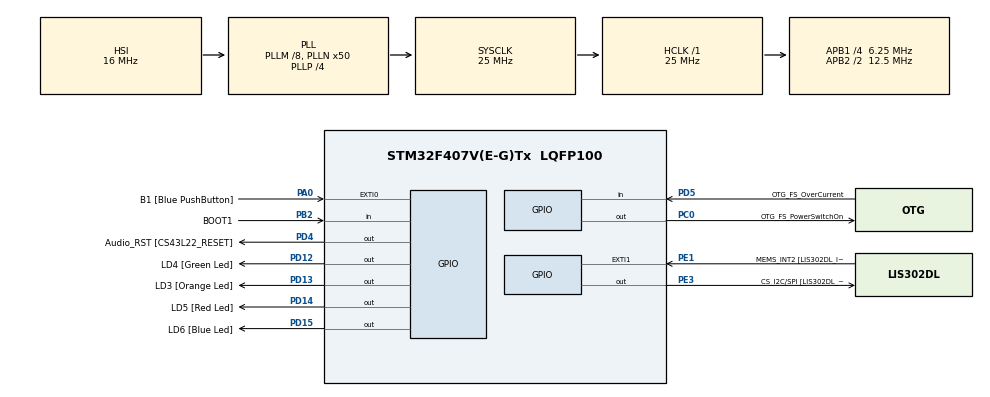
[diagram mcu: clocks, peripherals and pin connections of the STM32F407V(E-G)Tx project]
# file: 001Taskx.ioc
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Mcu.Family=STM32F4
Mcu.Name=STM32F407V(E-G)Tx
Mcu.Package=LQFP100
NVIC.PriorityGroup=NVIC_PRIORITYGROUP_4
NVIC.TIM6_DAC_IRQn=true\:0\:0\:false\:false\:true\:false\:true\:true
NVIC.TimeBase=TIM6_DAC_IRQn
NVIC.TimeBaseIP=TIM6
PA0-WKUP.GPIO_Label=B1 [Blue PushButton]
PA0-WKUP.Signal=GPXTI0
PA10.GPIO_Label=OTG_FS_ID
PA10.GPIO_Mode=GPIO_MODE_AF_PP
PA10.GPIO_PuPd=GPIO_NOPULL
PA10.GPIO_Speed=GPIO_SPEED_FREQ_LOW
PA10.Signal=USB_OTG_FS_ID
PA11.GPIO_Label=OTG_FS_DM
PA11.GPIO_Mode=GPIO_MODE_AF_PP
PA11.GPIO_PuPd=GPIO_NOPULL
PA11.GPIO_Speed=GPIO_SPEED_FREQ_LOW
PA11.Signal=USB_OTG_FS_DM
PA12.GPIO_Label=OTG_FS_DP
PA12.GPIO_Mode=GPIO_MODE_AF_PP
PA12.GPIO_PuPd=GPIO_NOPULL
PA12.GPIO_Speed=GPIO_SPEED_FREQ_LOW
PA12.Signal=USB_OTG_FS_DP
PA13.GPIO_Label=SWDIO
PA13.Signal=SYS_JTMS-SWDIO
PA14.GPIO_Label=SWCLK
PA14.Signal=SYS_JTCK-SWCLK
PA4.GPIO_Label=I2S3_WS [CS43L22_LRCK]
PA4.GPIO_Mode=GPIO_MODE_AF_PP
PA4.GPIO_PuPd=GPIO_NOPULL
PA4.GPIO_Speed=GPIO_SPEED_FREQ_LOW
PA4.Signal=I2S3_WS
PA5.GPIO_Label=SPI1_SCK [LIS302DL_SCL/SPC]
PA5.GPIO_Mode=GPIO_MODE_AF_PP
PA5.GPIO_PuPd=GPIO_NOPULL
PA5.GPIO_Speed=GPIO_SPEED_FREQ_LOW
PA5.Signal=SPI1_SCK
PA6.GPIO_Label=SPI1_MISO [LIS302DL_SDO]
PA6.GPIO_Mode=GPIO_MODE_AF_PP
PA6.GPIO_PuPd=GPIO_NOPULL
PA6.GPIO_Speed=GPIO_SPEED_FREQ_LOW
PA6.Signal=SPI1_MISO
PA7.GPIO_Label=SPI1_MOSI [LIS302DL_SDA/SDI/SDO]
PA7.GPIO_Mode=GPIO_MODE_AF_PP
PA7.GPIO_PuPd=GPIO_NOPULL
PA7.GPIO_Speed=GPIO_SPEED_FREQ_LOW
PA7.Signal=SPI1_MOSI
PA9.GPIO_Label=VBUS_FS
PA9.GPIO_Mode=GPIO_MODE_INPUT
PA9.GPIO_PuPd=GPIO_NOPULL
PA9.Signal=USB_OTG_FS_VBUS
PB10.GPIO_Label=CLK_IN [MP45DT02_CLK]
PB10.GPIO_Mode=GPIO_MODE_AF_PP
PB10.GPIO_PuPd=GPIO_NOPULL
PB10.GPIO_Speed=GPIO_SPEED_FREQ_LOW
PB10.Signal=I2S2_CK
PB2.GPIO_Label=BOOT1
PB2.GPIO_Mode=GPIO_MODE_INPUT
PB2.GPIO_PuPd=GPIO_NOPULL
PB2.Signal=GPIO_Input
PB3.GPIO_Label=SWO
PB3.Signal=SYS_JTDO-SWO
PB6.GPIO_Label=Audio_SCL [CS43L22_SCL]
PB6.GPIO_Mode=GPIO_MODE_AF_OD
PB6.GPIO_PuPd=GPIO_NOPULL
PB6.GPIO_Speed=GPIO_SPEED_FREQ_LOW
PB6.Signal=I2C1_SCL
PB9.GPIO_Label=Audio_SDA [CS43L22_SDA]
PB9.GPIO_Mode=GPIO_MODE_AF_OD
PB9.GPIO_PuPd=GPIO_NOPULL
PB9.GPIO_Speed=GPIO_SPEED_FREQ_LOW
PB9.Signal=I2C1_SDA
PC0.GPIO_Label=OTG_FS_PowerSwitchOn
PC0.GPIO_PuPd=GPIO_NOPULL
PC0.GPIO_Speed=GPIO_SPEED_FREQ_LOW
PC0.PinState=GPIO_PIN_SET
PC0.Signal=GPIO_Output
PC10.GPIO_Label=I2S3_SCK [CS43L22_SCLK]
PC10.GPIO_Mode=GPIO_MODE_AF_PP
PC10.GPIO_PuPd=GPIO_NOPULL
PC10.GPIO_Speed=GPIO_SPEED_FREQ_LOW
PC10.Signal=I2S3_CK
PC12.GPIO_Label=I2S3_SD [CS43L22_SDIN]
PC12.GPIO_Mode=GPIO_MODE_AF_PP
PC12.GPIO_PuPd=GPIO_NOPULL
PC12.GPIO_Speed=GPIO_SPEED_FREQ_LOW
PC12.Signal=I2S3_SD
PC14-OSC32_IN.GPIO_Label=PC14-OSC32_IN
PC14-OSC32_IN.Signal=RCC_OSC32_IN
PC15-OSC32_OUT.GPIO_Label=PC15-OSC32_OUT
PC15-OSC32_OUT.Signal=RCC_OSC32_OUT
PC3.GPIO_Label=PDM_OUT [MP45DT02_DOUT]
PC3.GPIO_Mode=GPIO_MODE_AF_PP
PC3.GPIO_PuPd=GPIO_NOPULL
PC3.GPIO_Speed=GPIO_SPEED_FREQ_LOW
PC3.Signal=I2S2_SD
PC7.GPIO_Label=I2S3_MCK [CS43L22_MCLK]
PC7.GPIO_Mode=GPIO_MODE_AF_PP
PC7.GPIO_PuPd=GPIO_NOPULL
PC7.GPIO_Speed=GPIO_SPEED_FREQ_LOW
PC7.Signal=I2S3_MCK
PD12.GPIO_Label=LD4 [Green Led]
PD12.GPIO_PuPd=GPIO_NOPULL
PD12.GPIO_Speed=GPIO_SPEED_FREQ_LOW
PD12.Signal=GPIO_Output
PD13.GPIO_Label=LD3 [Orange Led]
PD13.GPIO_PuPd=GPIO_NOPULL
PD13.GPIO_Speed=GPIO_SPEED_FREQ_LOW
PD13.Signal=GPIO_Output
PD14.GPIO_Label=LD5 [Red Led]
PD14.GPIO_PuPd=GPIO_NOPULL
PD14.GPIO_Speed=GPIO_SPEED_FREQ_LOW
PD14.Signal=GPIO_Output
PD15.GPIO_Label=LD6 [Blue Led]
PD15.GPIO_PuPd=GPIO_NOPULL
PD15.GPIO_Speed=GPIO_SPEED_FREQ_LOW
PD15.Signal=GPIO_Output
PD4.GPIO_Label=Audio_RST [CS43L22_RESET]
PD4.GPIO_PuPd=GPIO_NOPULL
PD4.GPIO_Speed=GPIO_SPEED_FREQ_LOW
PD4.Signal=GPIO_Output
PD5.GPIO_Label=OTG_FS_OverCurrent
PD5.GPIO_Mode=GPIO_MODE_INPUT
PD5.GPIO_PuPd=GPIO_NOPULL
PD5.Signal=GPIO_Input
PE1.GPIO_Label=MEMS_INT2 [LIS302DL_INT2]
PE1.GPIO_ModeDefaultEXTI=GPIO_MODE_EVT_RISING
PE1.GPIO_PuPd=GPIO_NOPULL
PE1.Signal=GPXTI1
PE3.GPIO_Label=CS_I2C/SPI [LIS302DL_CS_I2C/SPI]
PE3.GPIO_PuPd=GPIO_NOPULL
PE3.GPIO_Speed=GPIO_SPEED_FREQ_LOW
PE3.Signal=GPIO_Output
PH0-OSC_IN.GPIO_Label=PH0-OSC_IN
PH0-OSC_IN.Signal=RCC_OSC_IN
PH1-OSC_OUT.GPIO_Label=PH1-OSC_OUT
PH1-OSC_OUT.Signal=RCC_OSC_OUT
ProjectManager.HeapSize=0x200
ProjectManager.StackSize=0x400
ProjectManager.TargetToolchain=STM32CubeIDE
RCC.48MHZClocksFreq_Value=14285714.285714285
RCC.AHBFreq_Value=25000000
RCC.APB1CLKDivider=RCC_HCLK_DIV4
RCC.APB1Freq_Value=6250000
RCC.APB1TimFreq_Value=12500000
RCC.APB2CLKDivider=RCC_HCLK_DIV2
RCC.APB2Freq_Value=12500000
RCC.APB2TimFreq_Value=25000000
RCC.CortexFreq_Value=25000000
RCC.HCLKFreq_Value=25000000
RCC.HSE_VALUE=8000000
RCC.HSI_VALUE=16000000
RCC.LSE_VALUE=32768
RCC.PLLM=8
RCC.PLLN=50
RCC.PLLP=RCC_PLLP_DIV4
RCC.PLLQ=7
RCC.SYSCLKFreq_VALUE=25000000
RCC.SYSCLKSource=RCC_SYSCLKSOURCE_PLLCLK
RCC.VCOOutputFreq_Value=100000000
VP_SYS_VS_tim6.Mode=TIM6
board=STM32F407G-DISC1

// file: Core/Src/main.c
/* USER CODE BEGIN Header */
/**
  ******************************************************************************
  * @file           : main.c
  * @brief          : Main program body
  ******************************************************************************
  * @attention
  *
  * Copyright (c) 2026 STMicroelectronics.
  * All rights reserved.
  *
  * This software is licensed under terms that can be found in the LICENSE file
  * in the root directory of this software component.
  * If no LICENSE file comes with this software, it is provided AS-IS.
  *
  ******************************************************************************
  */
/* USER CODE END Header */
#include "main.h"

/* USER CODE BEGIN Includes */
#include "FreeRTOS.h"
#include "task.h"
#include <stdio.h>
/* USER CODE END Includes */

/* USER CODE BEGIN PV */
#define DWT_CTRL   (*(volatile uint32_t*)0xE0001000)
TaskHandle_t task1_handle,task2_handle,task3_handle,task4_handle,next_task_handle,task5_handle;

/* USER CODE END PV */

void SystemClock_Config(void);
static void MX_GPIO_Init(void);
/* USER CODE BEGIN PFP */
static void led_green_handler(void* parameters);
static void led_red_handler(void* parameters);
static void led_orange_handler(void* parameters);
static void button_press_handler(void *parameters);
static void onSuspend_handler(void *parameters);
/* USER CODE END PFP */

int main(void)
{

  /* USER CODE BEGIN 1 */

	BaseType_t status;

  /* USER CODE END 1 */

  /* MCU Configuration--------------------------------------------------------*/

  /* Reset of all peripherals, Initializes the Flash interface and the Systick. */
  HAL_Init();

  /* Configure the system clock */
  SystemClock_Config();

  /* Initialize all configured peripherals */
  MX_GPIO_Init();
  /* USER CODE BEGIN 2 */

  //enable the cycle counting
  DWT_CTRL |=(1<<0);

  // to start the recording we call the below functions:
  SEGGER_SYSVIEW_Conf();
  SEGGER_SYSVIEW_Start(); // --> which actually starts the recording

    status = xTaskCreate(led_green_handler,"LED_GREEN_TASK", 200, NULL, 2, &task1_handle);
    configASSERT(status == pdPASS);
    next_task_handle=task1_handle;
    status = xTaskCreate(led_red_handler,"LED_RED_TASK", 200, NULL, 3, &task2_handle);
    configASSERT(status == pdPASS);
    /*status = xTaskCreate(led_orange_handler,"LED_ORANGE_TASK", 200, NULL, 1, &task3_handle);
    configASSERT(status == pdPASS);
    status = xTaskCreate(button_press_handler,"Button_task", 200, NULL, 4, &task4_handle);
    configASSERT(status == pdPASS);
    status = xTaskCreate(onSuspend_handler,"suspension_task", 200, NULL, 4, &task5_handle);
    configASSERT(status == pdPASS);*/

  //start the scheduler
   vTaskStartScheduler(); // sxheduler return only in the case it has failed to launch , internally uses xtaskcreate()

  //if the control comes here the scheduler has failed to start
  //may be returned due to insufficient memory in the heap to start the scheduler

  /* USER CODE END 2 */

  /* Infinite loop */
  while (1)
  {

  }
}

void SystemClock_Config(void)
{
  RCC_OscInitTypeDef RCC_OscInitStruct = {0};
  RCC_ClkInitTypeDef RCC_ClkInitStruct = {0};

  /** Configure the main internal regulator output voltage
  */
  __HAL_RCC_PWR_CLK_ENABLE();
  __HAL_PWR_VOLTAGESCALING_CONFIG(PWR_REGULATOR_VOLTAGE_SCALE1);

  /** Initializes the RCC Oscillators according to the specified parameters
  * in the RCC_OscInitTypeDef structure.
  */
  RCC_OscInitStruct.OscillatorType = RCC_OSCILLATORTYPE_HSI;
  RCC_OscInitStruct.HSIState = RCC_HSI_ON;
  RCC_OscInitStruct.HSICalibrationValue = RCC_HSICALIBRATION_DEFAULT;
  RCC_OscInitStruct.PLL.PLLState = RCC_PLL_ON;
  RCC_OscInitStruct.PLL.PLLSource = RCC_PLLSOURCE_HSI;
  RCC_OscInitStruct.PLL.PLLM = 8;
  RCC_OscInitStruct.PLL.PLLN = 50;
  RCC_OscInitStruct.PLL.PLLP = RCC_PLLP_DIV4;
  RCC_OscInitStruct.PLL.PLLQ = 7;
  if (HAL_RCC_OscConfig(&RCC_OscInitStruct) != HAL_OK)
  {
    Error_Handler();
  }

  /** Initializes the CPU, AHB and APB buses clocks
  */
  RCC_ClkInitStruct.ClockType = RCC_CLOCKTYPE_HCLK|RCC_CLOCKTYPE_SYSCLK
                              |RCC_CLOCKTYPE_PCLK1|RCC_CLOCKTYPE_PCLK2;
  RCC_ClkInitStruct.SYSCLKSource = RCC_SYSCLKSOURCE_PLLCLK;
  RCC_ClkInitStruct.AHBCLKDivider = RCC_SYSCLK_DIV1;
  RCC_ClkInitStruct.APB1CLKDivider = RCC_HCLK_DIV4;
  RCC_ClkInitStruct.APB2CLKDivider = RCC_HCLK_DIV2;

  if (HAL_RCC_ClockConfig(&RCC_ClkInitStruct, FLASH_LATENCY_0) != HAL_OK)
  {
    Error_Handler();
  }
}

static void MX_GPIO_Init(void)
{
  GPIO_InitTypeDef GPIO_InitStruct = {0};

  /* GPIO Ports Clock Enable */
  __HAL_RCC_GPIOE_CLK_ENABLE();
  __HAL_RCC_GPIOC_CLK_ENABLE();
  __HAL_RCC_GPIOH_CLK_ENABLE();
  __HAL_RCC_GPIOA_CLK_ENABLE();
  __HAL_RCC_GPIOB_CLK_ENABLE();
  __HAL_RCC_GPIOD_CLK_ENABLE();

  /*Configure GPIO pin Output Level */
  HAL_GPIO_WritePin(CS_I2C_SPI_GPIO_Port, CS_I2C_SPI_Pin, GPIO_PIN_RESET);

  /*Configure GPIO pin Output Level */
  HAL_GPIO_WritePin(OTG_FS_PowerSwitchOn_GPIO_Port, OTG_FS_PowerSwitchOn_Pin, GPIO_PIN_SET);

  /*Configure GPIO pin Output Level */
  HAL_GPIO_WritePin(GPIOD, LD4_Pin|LD3_Pin|LD5_Pin|LD6_Pin
                          |Audio_RST_Pin, GPIO_PIN_RESET);

  /*Configure GPIO pin : CS_I2C_SPI_Pin */
  GPIO_InitStruct.Pin = CS_I2C_SPI_Pin;
  GPIO_InitStruct.Mode = GPIO_MODE_OUTPUT_PP;
  GPIO_InitStruct.Pull = GPIO_NOPULL;
  GPIO_InitStruct.Speed = GPIO_SPEED_FREQ_LOW;
  HAL_GPIO_Init(CS_I2C_SPI_GPIO_Port, &GPIO_InitStruct);

  /*Configure GPIO pin : OTG_FS_PowerSwitchOn_Pin */
  GPIO_InitStruct.Pin = OTG_FS_PowerSwitchOn_Pin;
  GPIO_InitStruct.Mode = GPIO_MODE_OUTPUT_PP;
  GPIO_InitStruct.Pull = GPIO_NOPULL;
  GPIO_InitStruct.Speed = GPIO_SPEED_FREQ_LOW;
  HAL_GPIO_Init(OTG_FS_PowerSwitchOn_GPIO_Port, &GPIO_InitStruct);

  /*Configure GPIO pin : PDM_OUT_Pin */
  GPIO_InitStruct.Pin = PDM_OUT_Pin;
  GPIO_InitStruct.Mode = GPIO_MODE_AF_PP;
  GPIO_InitStruct.Pull = GPIO_NOPULL;
  GPIO_InitStruct.Speed = GPIO_SPEED_FREQ_LOW;
  GPIO_InitStruct.Alternate = GPIO_AF5_SPI2;
  HAL_GPIO_Init(PDM_OUT_GPIO_Port, &GPIO_InitStruct);

  /*Configure GPIO pin : B1_Pin */
  GPIO_InitStruct.Pin = B1_Pin;
  GPIO_InitStruct.Mode = GPIO_MODE_IT_RISING;
  GPIO_InitStruct.Pull = GPIO_NOPULL;
  HAL_GPIO_Init(B1_GPIO_Port, &GPIO_InitStruct);

  /*Configure GPIO pin : I2S3_WS_Pin */
  GPIO_InitStruct.Pin = I2S3_WS_Pin;
  GPIO_InitStruct.Mode = GPIO_MODE_AF_PP;
  GPIO_InitStruct.Pull = GPIO_NOPULL;
  GPIO_InitStruct.Speed = GPIO_SPEED_FREQ_LOW;
  GPIO_InitStruct.Alternate = GPIO_AF6_SPI3;
  HAL_GPIO_Init(I2S3_WS_GPIO_Port, &GPIO_InitStruct);

  /*Configure GPIO pins : SPI1_SCK_Pin SPI1_MISO_Pin SPI1_MOSI_Pin */
  GPIO_InitStruct.Pin = SPI1_SCK_Pin|SPI1_MISO_Pin|SPI1_MOSI_Pin;
  GPIO_InitStruct.Mode = GPIO_MODE_AF_PP;
  GPIO_InitStruct.Pull = GPIO_NOPULL;
  GPIO_InitStruct.Speed = GPIO_SPEED_FREQ_LOW;
  GPIO_InitStruct.Alternate = GPIO_AF5_SPI1;
  HAL_GPIO_Init(GPIOA, &GPIO_InitStruct);

  /*Configure GPIO pin : BOOT1_Pin */
  GPIO_InitStruct.Pin = BOOT1_Pin;
  GPIO_InitStruct.Mode = GPIO_MODE_INPUT;
  GPIO_InitStruct.Pull = GPIO_NOPULL;
  HAL_GPIO_Init(BOOT1_GPIO_Port, &GPIO_InitStruct);

  /*Configure GPIO pin : CLK_IN_Pin */
  GPIO_InitStruct.Pin = CLK_IN_Pin;
  GPIO_InitStruct.Mode = GPIO_MODE_AF_PP;
  GPIO_InitStruct.Pull = GPIO_NOPULL;
  GPIO_InitStruct.Speed = GPIO_SPEED_FREQ_LOW;
  GPIO_InitStruct.Alternate = GPIO_AF5_SPI2;
  HAL_GPIO_Init(CLK_IN_GPIO_Port, &GPIO_InitStruct);

  /*Configure GPIO pins : LD4_Pin LD3_Pin LD5_Pin LD6_Pin
                           Audio_RST_Pin */
  GPIO_InitStruct.Pin = LD4_Pin|LD3_Pin|LD5_Pin|LD6_Pin
                          |Audio_RST_Pin;
  GPIO_InitStruct.Mode = GPIO_MODE_OUTPUT_PP;
  GPIO_InitStruct.Pull = GPIO_NOPULL;
  GPIO_InitStruct.Speed = GPIO_SPEED_FREQ_LOW;
  HAL_GPIO_Init(GPIOD, &GPIO_InitStruct);

  /*Configure GPIO pins : I2S3_MCK_Pin I2S3_SCK_Pin I2S3_SD_Pin */
  GPIO_InitStruct.Pin = I2S3_MCK_Pin|I2S3_SCK_Pin|I2S3_SD_Pin;
  GPIO_InitStruct.Mode = GPIO_MODE_AF_PP;
  GPIO_InitStruct.Pull = GPIO_NOPULL;
  GPIO_InitStruct.Speed = GPIO_SPEED_FREQ_LOW;
  GPIO_InitStruct.Alternate = GPIO_AF6_SPI3;
  HAL_GPIO_Init(GPIOC, &GPIO_InitStruct);

  /*Configure GPIO pin : VBUS_FS_Pin */
  GPIO_InitStruct.Pin = VBUS_FS_Pin;
  GPIO_InitStruct.Mode = GPIO_MODE_INPUT;
  GPIO_InitStruct.Pull = GPIO_NOPULL;
  HAL_GPIO_Init(VBUS_FS_GPIO_Port, &GPIO_InitStruct);

  /*Configure GPIO pins : OTG_FS_ID_Pin OTG_FS_DM_Pin OTG_FS_DP_Pin */
  GPIO_InitStruct.Pin = OTG_FS_ID_Pin|OTG_FS_DM_Pin|OTG_FS_DP_Pin;
  GPIO_InitStruct.Mode = GPIO_MODE_AF_PP;
  GPIO_InitStruct.Pull = GPIO_NOPULL;
  GPIO_InitStruct.Speed = GPIO_SPEED_FREQ_LOW;
  GPIO_InitStruct.Alternate = GPIO_AF10_OTG_FS;
  HAL_GPIO_Init(GPIOA, &GPIO_InitStruct);

  /*Configure GPIO pin : OTG_FS_OverCurrent_Pin */
  GPIO_InitStruct.Pin = OTG_FS_OverCurrent_Pin;
  GPIO_InitStruct.Mode = GPIO_MODE_INPUT;
  GPIO_InitStruct.Pull = GPIO_NOPULL;
  HAL_GPIO_Init(OTG_FS_OverCurrent_GPIO_Port, &GPIO_InitStruct);

  /*Configure GPIO pins : Audio_SCL_Pin Audio_SDA_Pin */
  GPIO_InitStruct.Pin = Audio_SCL_Pin|Audio_SDA_Pin;
  GPIO_InitStruct.Mode = GPIO_MODE_AF_OD;
  GPIO_InitStruct.Pull = GPIO_NOPULL;
  GPIO_InitStruct.Speed = GPIO_SPEED_FREQ_LOW;
  GPIO_InitStruct.Alternate = GPIO_AF4_I2C1;
  HAL_GPIO_Init(GPIOB, &GPIO_InitStruct);

  /*Configure GPIO pin : MEMS_INT2_Pin */
  GPIO_InitStruct.Pin = MEMS_INT2_Pin;
  GPIO_InitStruct.Mode = GPIO_MODE_EVT_RISING;
  GPIO_InitStruct.Pull = GPIO_NOPULL;
  HAL_GPIO_Init(MEMS_INT2_GPIO_Port, &GPIO_InitStruct);

}

/* USER CODE BEGIN 4 */
static void led_green_handler(void* parameters)
{
	BaseType_t status;
	while(1)
	{
		HAL_GPIO_TogglePin(GPIOD,LED_GREEN_PIN);
		//after this we have to wait for 1000ms
		status = xTaskNotifyWait(0,0,NULL,pdMS_TO_TICKS(1000)); //here the task goes to sleep for 1000 ms
		if(status == pdTRUE)
		{
			vTaskSuspendAll();
			//action taken to resolve global taskHandle , variables update
			next_task_handle=task2_handle;
			xTaskResumeAll();
			HAL_GPIO_WritePin(GPIOD, LED_GREEN_PIN, GPIO_PIN_SET);
			vTaskSuspend(NULL); // since self delete its NULL

		}
		vTaskDelay(pdMS_TO_TICKS(1000));
	}
}

static void led_red_handler(void* parameters)
{
	BaseType_t status;
	while(1)
	{

		HAL_GPIO_TogglePin(GPIOD, LED_RED_PIN);
		status = xTaskNotifyWait(0, 0, NULL, pdMS_TO_TICKS(800)); // here the task goes to sleep for 800 ms
		if (status == pdTRUE) {
			vTaskSuspendAll();
			next_task_handle = task3_handle;
			xTaskResumeAll();
			HAL_GPIO_WritePin(GPIOD, LED_RED_PIN, GPIO_PIN_SET);
			vTaskSuspend(NULL);// since self delete its NULL

		}

		vTaskDelay(pdMS_TO_TICKS(100));

	}
}

static void led_orange_handler(void* parameters)
{
	BaseType_t status;
	while(1)
	{

		HAL_GPIO_TogglePin(GPIOD, LED_ORANGE_PIN);
		status = xTaskNotifyWait(0, 0, NULL, pdMS_TO_TICKS(400));  //here the task goes to sleep for 400 ms
		if (status == pdTRUE) {
			vTaskSuspendAll(); // this suspend is needed because before the task updates the next handle if its preempted by button task .. on 2nd press again the task to be suspended will be 1st task.
			// the above code causes the scheduler to be suspended
			next_task_handle = task5_handle;
			xTaskResumeAll();
			HAL_GPIO_WritePin(GPIOD, LED_ORANGE_PIN, GPIO_PIN_SET);
			vTaskSuspend(NULL); // since self delete its NULL
			 // indicates all LED

		}
	}
}

static void button_press_handler(void *parameters)
{
	uint8_t btn_read=0;
	uint8_t prev_read=0;

	while(1)
	{

		btn_read = HAL_GPIO_ReadPin(GPIOA, GPIO_PIN_0);
		if(btn_read)
		{
			if(!prev_read)
			{
				xTaskNotify(next_task_handle,0,eNoAction);
			}

		}
		prev_read=btn_read;
		vTaskDelay(pdMS_TO_TICKS(10));

	}
}

static void onSuspend_handler(void *parameters)
{
	BaseType_t status;
	while(1)
	{
		status = xTaskNotifyWait(0, 0, NULL, pdMS_TO_TICKS(10));
		if (status == pdTRUE) {
			vTaskResume(task1_handle);
			vTaskResume(task2_handle);
			vTaskResume(task3_handle);
			next_task_handle = task1_handle;
		}
	}

}
/* USER CODE END 4 */

void HAL_TIM_PeriodElapsedCallback(TIM_HandleTypeDef *htim)
{
  if (htim->Instance == TIM6)
  {
    HAL_IncTick();
  }
}

void Error_Handler(void)
{
  __disable_irq();
  while (1)
  {
  }
}
